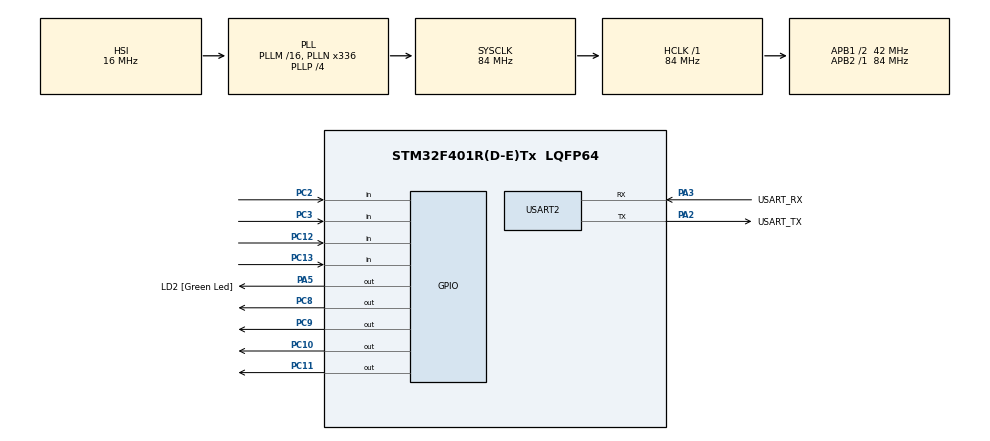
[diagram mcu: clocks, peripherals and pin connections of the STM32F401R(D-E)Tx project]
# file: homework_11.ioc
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Dma.Request0=USART2_TX
Dma.USART2_TX.0.Direction=DMA_MEMORY_TO_PERIPH
Dma.USART2_TX.0.FIFOMode=DMA_FIFOMODE_DISABLE
Dma.USART2_TX.0.Instance=DMA1_Stream6
Dma.USART2_TX.0.MemDataAlignment=DMA_MDATAALIGN_BYTE
Dma.USART2_TX.0.MemInc=DMA_MINC_ENABLE
Dma.USART2_TX.0.Mode=DMA_NORMAL
Dma.USART2_TX.0.PeriphDataAlignment=DMA_PDATAALIGN_BYTE
Dma.USART2_TX.0.PeriphInc=DMA_PINC_DISABLE
Dma.USART2_TX.0.Priority=DMA_PRIORITY_LOW
Mcu.Family=STM32F4
Mcu.Name=STM32F401R(D-E)Tx
Mcu.Package=LQFP64
NVIC.DMA1_Stream6_IRQn=true\:0\:0\:false\:false\:true\:false\:true\:true
NVIC.PriorityGroup=NVIC_PRIORITYGROUP_4
NVIC.TIM2_IRQn=true\:0\:0\:false\:false\:true\:true\:true\:true
NVIC.USART2_IRQn=true\:0\:0\:false\:false\:true\:true\:true\:true
PA13.GPIO_Label=TMS
PA13.Mode=Trace_Asynchronous_SW
PA13.Signal=SYS_JTMS-SWDIO
PA14.GPIO_Label=TCK
PA14.Mode=Trace_Asynchronous_SW
PA14.Signal=SYS_JTCK-SWCLK
PA2.GPIO_Label=USART_TX
PA2.GPIO_Mode=GPIO_MODE_AF_PP
PA2.GPIO_PuPd=GPIO_NOPULL
PA2.GPIO_Speed=GPIO_SPEED_FREQ_LOW
PA2.Mode=Asynchronous
PA2.Signal=USART2_TX
PA3.GPIO_Label=USART_RX
PA3.GPIO_Mode=GPIO_MODE_AF_PP
PA3.GPIO_PuPd=GPIO_NOPULL
PA3.GPIO_Speed=GPIO_SPEED_FREQ_LOW
PA3.Mode=Asynchronous
PA3.Signal=USART2_RX
PA5.GPIO_Label=LD2 [Green Led]
PA5.GPIO_Mode=GPIO_MODE_OUTPUT_PP
PA5.GPIO_PuPd=GPIO_NOPULL
PA5.GPIO_Speed=GPIO_SPEED_FREQ_LOW
PA5.Signal=GPIO_Output
PB3.GPIO_Label=SWO
PB3.Mode=Trace_Asynchronous_SW
PB3.Signal=SYS_JTDO-SWO
PC10.Signal=GPIO_Output
PC11.Signal=GPIO_Output
PC12.Signal=GPIO_Input
PC13-ANTI_TAMP.Signal=GPIO_Input
PC14-OSC32_IN.Mode=LSE-External-Oscillator
PC14-OSC32_IN.Signal=RCC_OSC32_IN
PC15-OSC32_OUT.Mode=LSE-External-Oscillator
PC15-OSC32_OUT.Signal=RCC_OSC32_OUT
PC2.Signal=GPIO_Input
PC3.Signal=GPIO_Input
PC8.Signal=GPIO_Output
PC9.Signal=GPIO_Output
PH0\ -\ OSC_IN.Mode=HSE-External-Clock-Source
PH0\ -\ OSC_IN.Signal=RCC_OSC_IN
PH1\ -\ OSC_OUT.Mode=HSE-External-Clock-Source
PH1\ -\ OSC_OUT.Signal=RCC_OSC_OUT
ProjectManager.HeapSize=0x200
ProjectManager.StackSize=0x400
ProjectManager.TargetToolchain=CMake
RCC.48MHZClocksFreq_Value=48000000
RCC.AHBFreq_Value=84000000
RCC.APB1CLKDivider=RCC_HCLK_DIV2
RCC.APB1Freq_Value=42000000
RCC.APB1TimFreq_Value=84000000
RCC.APB2Freq_Value=84000000
RCC.APB2TimFreq_Value=84000000
RCC.CortexFreq_Value=84000000
RCC.HCLKFreq_Value=84000000
RCC.HSE_VALUE=8000000
RCC.HSI_VALUE=16000000
RCC.PLLN=336
RCC.PLLP=RCC_PLLP_DIV4
RCC.PLLQ=7
RCC.SYSCLKFreq_VALUE=84000000
RCC.SYSCLKSource=RCC_SYSCLKSOURCE_PLLCLK
RCC.VCOOutputFreq_Value=336000000
TIM2.Period=5000-1
TIM2.Prescaler=84-1
USART2.VirtualMode=VM_ASYNC
VP_TIM2_VS_ClockSourceINT.Mode=Internal
board=NUCLEO-F401RE

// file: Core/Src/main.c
/* USER CODE BEGIN Header */
/**
  ******************************************************************************
  * @file           : main.c
  * @brief          : Main program body
  ******************************************************************************
  * @attention
  *
  * Copyright (c) 2026 STMicroelectronics.
  * All rights reserved.
  *
  * This software is licensed under terms that can be found in the LICENSE file
  * in the root directory of this software component.
  * If no LICENSE file comes with this software, it is provided AS-IS.
  *
  ******************************************************************************
  */
/* USER CODE END Header */
#include "main.h"

/* USER CODE BEGIN Includes */
#include "stdio.h"
/* USER CODE END Includes */

/* USER CODE BEGIN PD */
#define COL 4
#define ROW 4
#define DEBOUNCE_THRESHOLD 3
/* USER CODE END PD */

TIM_HandleTypeDef htim2;

UART_HandleTypeDef huart2;
DMA_HandleTypeDef hdma_usart2_tx;

/* USER CODE BEGIN PV */
const uint16_t col_pins[COL] = {GPIO_PIN_8, GPIO_PIN_9, GPIO_PIN_10, GPIO_PIN_11};
const uint16_t row_pins[ROW] = {GPIO_PIN_12, GPIO_PIN_13, GPIO_PIN_2, GPIO_PIN_3};
const char key_map[ROW][COL] = {
    {'0', '1', '2', '3'},
    {'4', '5', '6', '7'},
    {'8', '9', 'A', 'B'},
    {'C', 'D', 'E', 'F'}
};
volatile uint8_t key_counter[ROW][COL] = {0};
volatile uint8_t key_sent[ROW][COL] = {0};
volatile uint8_t curr_col = 0;
char msg[32];
int length;
/* USER CODE END PV */

void SystemClock_Config(void);
static void MX_GPIO_Init(void);
static void MX_DMA_Init(void);
static void MX_TIM2_Init(void);
static void MX_USART2_UART_Init(void);
/* USER CODE BEGIN PFP */
void enable_column(uint8_t col);
/* USER CODE END PFP */

/* USER CODE BEGIN 0 */
void enable_column(uint8_t col) {
    HAL_GPIO_WritePin(GPIOC, GPIO_PIN_8 | GPIO_PIN_9 | GPIO_PIN_10 | GPIO_PIN_11, GPIO_PIN_RESET);
    HAL_GPIO_WritePin(GPIOC, col_pins[col], GPIO_PIN_SET);
}
/* USER CODE END 0 */

int main(void)
{

  /* MCU Configuration--------------------------------------------------------*/

  /* Reset of all peripherals, Initializes the Flash interface and the Systick. */
  HAL_Init();

  /* Configure the system clock */
  SystemClock_Config();

  /* Initialize all configured peripherals */
  MX_GPIO_Init();
  MX_DMA_Init();
  MX_TIM2_Init();
  MX_USART2_UART_Init();
  /* USER CODE BEGIN 2 */
  curr_col = 0;
  enable_column(0);
  HAL_TIM_Base_Start_IT(&htim2);
  /* USER CODE END 2 */

  /* Infinite loop */
  while (1)
  {

  }
}

void SystemClock_Config(void)
{
  RCC_OscInitTypeDef RCC_OscInitStruct = {0};
  RCC_ClkInitTypeDef RCC_ClkInitStruct = {0};

  /** Configure the main internal regulator output voltage
  */
  __HAL_RCC_PWR_CLK_ENABLE();
  __HAL_PWR_VOLTAGESCALING_CONFIG(PWR_REGULATOR_VOLTAGE_SCALE2);

  /** Initializes the RCC Oscillators according to the specified parameters
  * in the RCC_OscInitTypeDef structure.
  */
  RCC_OscInitStruct.OscillatorType = RCC_OSCILLATORTYPE_HSI;
  RCC_OscInitStruct.HSIState = RCC_HSI_ON;
  RCC_OscInitStruct.HSICalibrationValue = RCC_HSICALIBRATION_DEFAULT;
  RCC_OscInitStruct.PLL.PLLState = RCC_PLL_ON;
  RCC_OscInitStruct.PLL.PLLSource = RCC_PLLSOURCE_HSI;
  RCC_OscInitStruct.PLL.PLLM = 16;
  RCC_OscInitStruct.PLL.PLLN = 336;
  RCC_OscInitStruct.PLL.PLLP = RCC_PLLP_DIV4;
  RCC_OscInitStruct.PLL.PLLQ = 7;
  if (HAL_RCC_OscConfig(&RCC_OscInitStruct) != HAL_OK)
  {
    Error_Handler();
  }

  /** Initializes the CPU, AHB and APB buses clocks
  */
  RCC_ClkInitStruct.ClockType = RCC_CLOCKTYPE_HCLK|RCC_CLOCKTYPE_SYSCLK
                              |RCC_CLOCKTYPE_PCLK1|RCC_CLOCKTYPE_PCLK2;
  RCC_ClkInitStruct.SYSCLKSource = RCC_SYSCLKSOURCE_PLLCLK;
  RCC_ClkInitStruct.AHBCLKDivider = RCC_SYSCLK_DIV1;
  RCC_ClkInitStruct.APB1CLKDivider = RCC_HCLK_DIV2;
  RCC_ClkInitStruct.APB2CLKDivider = RCC_HCLK_DIV1;

  if (HAL_RCC_ClockConfig(&RCC_ClkInitStruct, FLASH_LATENCY_2) != HAL_OK)
  {
    Error_Handler();
  }
}

static void MX_TIM2_Init(void)
{

  TIM_ClockConfigTypeDef sClockSourceConfig = {0};
  TIM_MasterConfigTypeDef sMasterConfig = {0};

  htim2.Instance = TIM2;
  htim2.Init.Prescaler = 84-1;
  htim2.Init.CounterMode = TIM_COUNTERMODE_UP;
  htim2.Init.Period = 5000-1;
  htim2.Init.ClockDivision = TIM_CLOCKDIVISION_DIV1;
  htim2.Init.AutoReloadPreload = TIM_AUTORELOAD_PRELOAD_DISABLE;
  if (HAL_TIM_Base_Init(&htim2) != HAL_OK)
  {
    Error_Handler();
  }
  sClockSourceConfig.ClockSource = TIM_CLOCKSOURCE_INTERNAL;
  if (HAL_TIM_ConfigClockSource(&htim2, &sClockSourceConfig) != HAL_OK)
  {
    Error_Handler();
  }
  sMasterConfig.MasterOutputTrigger = TIM_TRGO_RESET;
  sMasterConfig.MasterSlaveMode = TIM_MASTERSLAVEMODE_DISABLE;
  if (HAL_TIMEx_MasterConfigSynchronization(&htim2, &sMasterConfig) != HAL_OK)
  {
    Error_Handler();
  }

}

static void MX_USART2_UART_Init(void)
{

  huart2.Instance = USART2;
  huart2.Init.BaudRate = 115200;
  huart2.Init.WordLength = UART_WORDLENGTH_8B;
  huart2.Init.StopBits = UART_STOPBITS_1;
  huart2.Init.Parity = UART_PARITY_NONE;
  huart2.Init.Mode = UART_MODE_TX_RX;
  huart2.Init.HwFlowCtl = UART_HWCONTROL_NONE;
  huart2.Init.OverSampling = UART_OVERSAMPLING_16;
  if (HAL_UART_Init(&huart2) != HAL_OK)
  {
    Error_Handler();
  }

}

static void MX_DMA_Init(void)
{

  /* DMA controller clock enable */
  __HAL_RCC_DMA1_CLK_ENABLE();

  /* DMA interrupt init */
  /* DMA1_Stream6_IRQn interrupt configuration */
  HAL_NVIC_SetPriority(DMA1_Stream6_IRQn, 0, 0);
  HAL_NVIC_EnableIRQ(DMA1_Stream6_IRQn);

}

static void MX_GPIO_Init(void)
{
  GPIO_InitTypeDef GPIO_InitStruct = {0};

  /* GPIO Ports Clock Enable */
  __HAL_RCC_GPIOC_CLK_ENABLE();
  __HAL_RCC_GPIOH_CLK_ENABLE();
  __HAL_RCC_GPIOA_CLK_ENABLE();
  __HAL_RCC_GPIOB_CLK_ENABLE();

  /*Configure GPIO pin Output Level */
  HAL_GPIO_WritePin(LD2_GPIO_Port, LD2_Pin, GPIO_PIN_RESET);

  /*Configure GPIO pin Output Level */
  HAL_GPIO_WritePin(GPIOC, GPIO_PIN_8|GPIO_PIN_9|GPIO_PIN_10|GPIO_PIN_11, GPIO_PIN_RESET);

  /*Configure GPIO pins : PC13 PC2 PC3 PC12 */
  GPIO_InitStruct.Pin = GPIO_PIN_13|GPIO_PIN_2|GPIO_PIN_3|GPIO_PIN_12;
  GPIO_InitStruct.Mode = GPIO_MODE_INPUT;
  GPIO_InitStruct.Pull = GPIO_NOPULL;
  HAL_GPIO_Init(GPIOC, &GPIO_InitStruct);

  /*Configure GPIO pin : LD2_Pin */
  GPIO_InitStruct.Pin = LD2_Pin;
  GPIO_InitStruct.Mode = GPIO_MODE_OUTPUT_PP;
  GPIO_InitStruct.Pull = GPIO_NOPULL;
  GPIO_InitStruct.Speed = GPIO_SPEED_FREQ_LOW;
  HAL_GPIO_Init(LD2_GPIO_Port, &GPIO_InitStruct);

  /*Configure GPIO pins : PC8 PC9 PC10 PC11 */
  GPIO_InitStruct.Pin = GPIO_PIN_8|GPIO_PIN_9|GPIO_PIN_10|GPIO_PIN_11;
  GPIO_InitStruct.Mode = GPIO_MODE_OUTPUT_PP;
  GPIO_InitStruct.Pull = GPIO_NOPULL;
  GPIO_InitStruct.Speed = GPIO_SPEED_FREQ_LOW;
  HAL_GPIO_Init(GPIOC, &GPIO_InitStruct);

}

/* USER CODE BEGIN 4 */
void HAL_TIM_PeriodElapsedCallback(TIM_HandleTypeDef *htim) {
    if (htim == &htim2) {
      for (uint8_t row = 0; row < ROW; row++) {
        if (HAL_GPIO_ReadPin(GPIOC, row_pins[row]) == GPIO_PIN_RESET) {
          if (key_counter[row][curr_col] < DEBOUNCE_THRESHOLD) {
            key_counter[row][curr_col]++;
          }  else if (key_counter[row][curr_col] >= DEBOUNCE_THRESHOLD && key_sent[row][curr_col] == 0) {
            key_sent[row][curr_col] = 1;
            length = snprintf(msg, sizeof(msg), "Key Pressed: %c\r\n", key_map[row][curr_col]);
            HAL_UART_Transmit_DMA(&huart2, (uint8_t*)msg, length);
            key_sent[row][curr_col] = 1;
          }
        } else {
          key_counter[row][curr_col] = 0;
          key_sent[row][curr_col] = 0;
        }
      }
      curr_col = (curr_col + 1) % COL;
      enable_column(curr_col);
  }
}
/* USER CODE END 4 */

void Error_Handler(void)
{
  __disable_irq();
  while (1)
  {
  }
}
